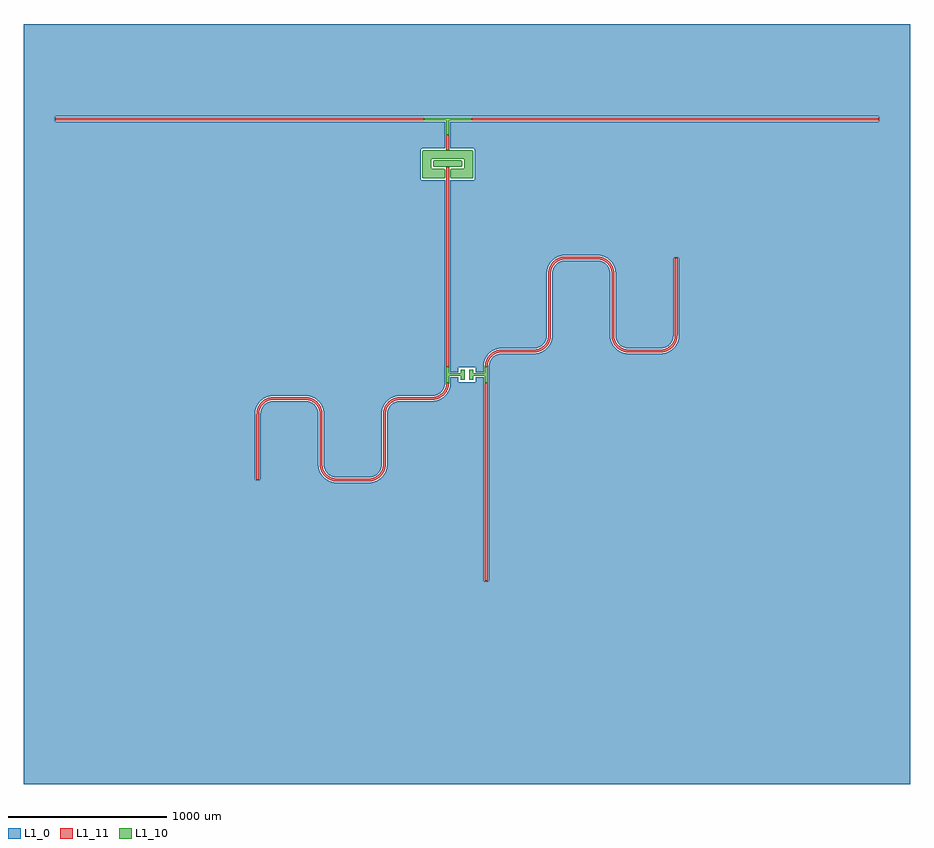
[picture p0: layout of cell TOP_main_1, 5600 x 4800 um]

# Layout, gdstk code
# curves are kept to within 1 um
import gdstk
lib = gdstk.Library(unit=1e-6, precision=1e-09)
def R(c, l, rs):  # rectangles x0, y0, x1, y1
    for r in rs: c.add(gdstk.rectangle(r[:2], r[2:], *l))
def P(c, l, *ps):  # polygons
    for p in ps: c.add(gdstk.Polygon(p, *l))
L1_0 = (1, 0)
L1_10 = (1, 10)
L1_11 = (1, 11)

ground_main_1 = lib.new_cell('ground_main_1')
R(ground_main_1, L1_0, [(-104.5,1414,-52.696,1583), (-941.076,1617,-574.409,2200), (-574.409,1617,-422.5,2200), (-422.5,1617,-52.696,2200), (-52.696,1617,220.5,2200), (220.5,1617,573.319,2200), (573.319,1617,940.651,2200)])
P(ground_main_1, L1_0, [(-941.076,-2600),(-941.076,-243.607),(-945.244,-231.434),(-951.265,-220.062),(-966.272,-202.491),(-976.562,-194.765),(-987.934,-188.744),(-1000.107,-184.576),(-1012.783,-182.364),(-1230.217,-182.364),(-1245.377,-185.256),(-1259.727,-190.937),(-1272.758,-199.207),(-1282.275,-207.867),(-1291.735,-220.062),(-1298.742,-233.814),(-1303.048,-248.635),(-1304.46,-261.424),(-1304.5,-679.862),(-1338.5,-679.862),(-1338.341,-257.929),(-1335.965,-239.882),(-1330.795,-222.429),(-1322.959,-206),(-1312.649,-190.999),(-1295.501,-173.851),(-1275.163,-160.643),(-1249.58,-151.205),(-1225.537,-148.04),(-1008.375,-148.635),(-990.477,-151.953),(-973.319,-158.029),(-957.322,-166.714),(-941.076,-179.463),(-941.076,1583),(-2600,1583),(-2600,1617),(-941.076,1617),(-941.076,2200),(-2800,2200),(-2800,-2600)],
  [(-617.924,-662.822),(-595.161,-658.849),(-574.409,-648.683),(-574.409,1583),(-941.076,1583),(-941.076,-179.463),(-926.654,-195.817),(-915.8,-214.061),(-908.453,-233.977),(-904.858,-254.899),(-903.49,-593.69),(-896.696,-615.776),(-884.009,-635.09),(-866.438,-650.097),(-855.066,-656.118),(-842.893,-660.286),(-822.5,-662.862)],
  [(-574.409,-687.302),(-596.382,-694.327),(-617.463,-696.822),(-834.625,-696.227),(-858.346,-691.185),(-877.85,-682.805),(-895.501,-671.011),(-912.649,-653.863),(-922.959,-638.862),(-929.67,-625.253),(-935.295,-607.942),(-938.142,-589.963),(-938.5,-264),(-941.076,-243.607),(-941.076,-2600),(-574.409,-2600)],
  [(-572.302,-647.202),(-558.991,-635.09),(-549.919,-622.604),(-542.513,-606.202),(-538.864,-588.579),(-538.46,-260.963),(-533.723,-231.054),(-527.2,-214.061),(-518.099,-198.297),(-506.643,-184.151),(-490.683,-170.154),(-475.163,-160.643),(-458.346,-153.677),(-440.646,-149.428),(-422.5,-148),(-422.5,1583),(-574.409,1583),(-574.409,-648.683)],
  [(-422.5,-182),(-435.328,-183.01),(-447.839,-186.013),(-459.727,-190.937),(-472.758,-199.207),(-482.275,-207.867),(-490.321,-217.909),(-496.696,-229.086),(-501.244,-241.123),(-504.5,-264),(-504.5,-580.862),(-505.928,-599.009),(-514.529,-628.044),(-528.471,-651.479),(-549.884,-672.891),(-574.409,-687.302),(-574.409,-2600),(-422.5,-2600)],
  [(-220.5,-148),(-205.135,-146.548),(-190.314,-142.242),(-176.562,-135.235),(-164.367,-125.775),(-154.161,-114.198),(-146.304,-100.914),(-141.076,-86.393),(-138.662,-71.149),(-138.5,1213),(-281.5,1213),(-286.092,1213.913),(-290.776,1217.387),(-293.5,1225),(-293.5,1402),(-290.776,1409.613),(-282.676,1413.942),(-138.5,1414),(-138.5,1583),(-422.5,1583),(-422.5,-148)],
  [(-54.49,31.696),(-52.696,33.49),(-52.696,1213),(-104.5,1213),(-104.5,2),(-54.5,2)],
  [(-52.696,-63.49),(-54.49,-61.696),(-54.5,-32),(-104.5,-32),(-105.928,-84.146),(-110.177,-101.846),(-118.557,-121.35),(-130.351,-139.001),(-145.164,-154.207),(-162.5,-166.459),(-184.654,-176.323),(-199.361,-180.058),(-217.463,-181.96),(-422.5,-182),(-422.5,-2600),(-52.696,-2600)],
  [(52.5,33.5),(54.49,31.696),(54.5,2),(104.5,2),(104.659,42.071),(107.705,63.08),(115.8,85.939),(128.471,106.616),(145.164,124.207),(167.837,139.357),(193.42,148.795),(220.5,152),(220.5,1583),(-52.696,1583),(-52.696,1414),(39.676,1413.942),(47.776,1409.613),(50.5,1402),(50.5,1225),(49.083,1219.343),(45.167,1215.022),(39.676,1213.058),(-52.696,1213),(-52.696,33.49)],
  [(220.5,118),(205.135,116.548),(190.314,112.242),(176.562,105.235),(164.367,95.775),(154.161,84.198),(146.304,70.914),(141.076,56.393),(138.662,41.149),(138.5,-1321),(104.5,-1321),(104.5,-32),(54.5,-32),(54.49,-61.696),(52.89,-63.462),(-52.696,-63.49),(-52.696,-2600),(220.5,-2600)],
  [(425.076,152.04),(437.865,153.452),(452.686,157.758),(464.241,163.419),(474.769,170.818),(484.009,179.772),(491.735,190.062),(497.756,201.434),(501.924,213.607),(504.5,234),(505.492,638.557),(513.33,667.808),(528.471,694.033),(547.499,713.565),(573.319,729.388),(573.319,1583),(220.5,1583),(220.5,152)],
  [(573.319,690.47),(560.725,679.549),(549.919,665.158),(542.513,648.756),(538.864,631.133),(538.46,230.963),(533.723,201.054),(521.406,173.39),(506.643,154.151),(488.203,138.401),(466.891,126.83),(443.639,119.942),(422.5,118),(220.5,118),(220.5,-2600),(573.319,-2600)],
  [(578.929,731.712),(599.361,737.474),(617.463,739.377),(837.641,738.424),(861.222,732.763),(883.11,722.323),(902.349,707.56),(918.099,689.119),(927.2,673.356),(932.823,659.262),(938.341,629.487),(938.5,234),(940.651,215.379),(940.651,1583),(573.319,1583),(573.319,729.388)],
  [(940.651,149.857),(926.654,165.817),(917.143,181.337),(909.277,201.054),(905.135,221.875),(904.46,625.992),(900.487,648.756),(890.321,669.507),(878.633,683.192),(862.004,695.273),(845.377,702.16),(827.649,705.255),(615.351,705.255),(592.723,700.569),(573.319,690.47),(573.319,-2600),(940.651,-2600)],
  [(2800,2200),(940.651,2200),(940.651,1617),(2600,1617),(2600,1583),(940.651,1583),(940.651,215.379),(946.304,199.086),(958.991,179.772),(974.409,166.179),(995.161,156.013),(1017.924,152.04),(1232.777,152.647),(1247.839,156.013),(1264.241,163.419),(1276.728,172.491),(1288.839,185.802),(1295.563,196.773),(1300.487,208.661),(1304.46,231.424),(1304.5,722.416),(1338.5,722.416),(1338.46,230.963),(1336.558,212.861),(1332.823,198.154),(1325.857,181.337),(1318.099,168.297),(1300.119,147.795),(1280.5,133.541),(1255.446,122.777),(1228.571,118.159),(1008.375,118.635),(987.554,122.777),(970.561,129.3),(954.797,138.401),(940.651,149.857),(940.651,-2600),(2800,-2600)])

top_main_1 = lib.new_cell('TOP_main_1')
P(top_main_1, L1_10, [(-129.5,1500),(-129.5,1592),(-271.5,1592),(-271.5,1608),(28.5,1608),(28.5,1592),(-113.5,1592),(-113.5,1500),(-129.5,1500)],
  [(-212.5,1330),(-210.157,1335.657),(-204.5,1338),(-37.716,1337.961),(-32.843,1335.657),(-30.654,1331.561),(-30.539,1304.216),(-32.843,1299.343),(-38.5,1297),(-205.284,1297.039),(-210.157,1299.343),(-212.346,1303.439)],
  [(-146.402,1225.005),(-141.279,1226.948),(-138.567,1232.022),(-138.5,1276.902),(-139.747,1281.276),(-145.912,1284.971),(-216.5,1285),(-220.945,1286.348),(-224.461,1292.216),(-224.5,1342),(-222.157,1347.657),(-217.284,1349.961),(-138.5,1350),(-138.5,1402),(-273.402,1402),(-278.417,1400.301),(-281.5,1393.902),(-281.5,1233.098),(-279.801,1228.083),(-273.402,1225)],
  [(30.598,1225.005),(36.011,1227.211),(38.495,1232.902),(38.5,1393.902),(36.289,1399.511),(30.402,1402),(-138.5,1402),(-138.5,1350),(-25.716,1349.961),(-20.843,1347.657),(-18.654,1343.561),(-18.539,1292.216),(-22.055,1286.348),(-26.5,1285),(-97.088,1284.971),(-103.035,1281.602),(-104.495,1277.098),(-104.5,1233.098),(-102.289,1227.489),(-96.402,1225)],
  [(-113.5,35),(-113.5,-7),(-38.5,-7),(-37.914,16.914),(-14.231,17.046),(-13.954,-46.769),(-37.914,-46.914),(-38.5,-23),(-113.5,-23),(-113.5,-65),(-129.5,-65),(-129.5,35)],
  [(15.304,-47.49),(13.5,-45.5),(14.389,17.163),(37.914,16.914),(38.5,-7),(113.5,-7),(113.5,35),(129.5,35),(129.5,-65),(113.5,-65),(113.5,-23),(38.5,-23),(37.914,-46.914)])
R(top_main_1, L1_11, [(113.5,-1315,129.5,-65), (-129.5,35,-113.5,1185), (-129.5,1185,-113.5,1297.001), (-129.5,1401.999,-113.5,1450), (-129.5,1450,-113.5,1500), (-2600,1592,-271.5,1608), (28.5,1592,2600,1608)])
P(top_main_1, L1_11, [(-1313.5,-264),(-1312.065,-247.903),(-1307.805,-232.314),(-1300.855,-217.724),(-1291.434,-204.593),(-1279.838,-193.336),(-1266.434,-184.308),(-1251.645,-177.793),(-1235.936,-173.997),(-1009.737,-173.639),(-991.355,-177.793),(-976.566,-184.308),(-963.162,-193.336),(-950.228,-206.194),(-950.228,-183.311),(-957.131,-177.783),(-969.574,-169.896),(-985.757,-162.798),(-1002.888,-158.459),(-1017.552,-157.041),(-1237.197,-158.014),(-1257.243,-162.798),(-1276,-171.335),(-1292.772,-183.311),(-1306.938,-198.279),(-1315.165,-210.5),(-1322.707,-226.482),(-1326.91,-240.601),(-1329.338,-258.106),(-1329.5,-679.862),(-1313.5,-679.862)],
  [(-620.5,-671.862),(-835.936,-670.865),(-854.186,-666.167),(-871.078,-657.811),(-885.886,-646.155),(-897.976,-631.699),(-908.707,-610.007),(-913.46,-583.559),(-914.149,-252.229),(-918.379,-232.059),(-926.396,-213.074),(-936.062,-198.279),(-950.228,-183.311),(-950.228,-206.194),(-942.145,-217.724),(-936.171,-229.8),(-931.451,-245.256),(-929.66,-258.609),(-929.135,-589.698),(-926.91,-604.261),(-922.707,-618.38),(-910.43,-641.832),(-897.111,-657.558),(-878.533,-672.018),(-857.243,-682.065),(-834.271,-687.213),(-620.5,-687.862)],
  [(-617.552,-687.822),(-599.987,-685.878),(-585.757,-682.065),(-569.574,-674.966),(-554.779,-665.3),(-541.778,-653.331),(-530.923,-639.386),(-522.512,-623.844),(-516.774,-607.129),(-513.5,-580.862),(-513.34,-258.609),(-511.549,-245.256),(-506.829,-229.8),(-500.855,-217.724),(-491.434,-204.593),(-491.434,-182.177),(-506.938,-198.279),(-517.971,-215.686),(-525.463,-234.885),(-529.135,-255.164),(-529.5,-580.862),(-532.046,-602.237),(-537.222,-617.546),(-545.024,-631.699),(-553.357,-642.286),(-565.281,-653.194),(-576.566,-660.554),(-591.355,-667.069),(-607.064,-670.865),(-620.5,-671.862),(-620.5,-687.862)],
  [(-489.643,-202.577),(-477.719,-191.668),(-464.053,-183.041),(-449.077,-176.968),(-433.263,-173.639),(-217.552,-172.959),(-199.987,-171.015),(-182.982,-166.207),(-167,-158.665),(-154.779,-150.438),(-143.804,-140.611),(-132.57,-126.969),(-125.029,-114.314),(-118.379,-97.941),(-114.514,-80.697),(-113.5,-65),(-129.5,-65),(-130.497,-79.436),(-133.468,-92.577),(-145.024,-116.837),(-153.357,-127.423),(-165.281,-138.332),(-188.814,-151.305),(-201.756,-155.049),(-217.803,-156.96),(-422.5,-157),(-440.112,-158.459),(-454.441,-161.879),(-468.165,-167.234),(-491.434,-182.177),(-491.434,-204.593)],
  [(129.5,36),(133.468,62.577),(145.024,86.837),(153.357,97.423),(165.281,108.332),(188.814,121.305),(201.756,125.049),(217.803,126.96),(422.5,127),(440.112,128.459),(454.441,131.879),(468.165,137.234),(481.023,144.423),(492.772,153.311),(492.772,176.194),(479.838,163.336),(466.434,154.308),(451.645,147.793),(433.263,143.639),(217.552,142.959),(199.987,141.015),(182.982,136.207),(167,128.665),(150.228,116.689),(136.062,101.721),(126.396,86.926),(116.774,62.267),(113.5,35)],
  [(494.969,155.278),(506.938,168.279),(517.971,185.686),(525.463,204.885),(529.135,225.164),(529.54,626.113),(532.718,647.403),(540.808,667.35),(551.566,682.823),(567.449,697.353),(583.816,706.695),(601.756,712.465),(620.5,714.416),(822.5,714.416),(822.5,730.416),(620.5,730.416),(599.987,728.432),(580.235,722.551),(559.531,711.347),(541.778,695.885),(527.835,676.916),(517.537,652.531),(513.541,626.365),(513.34,228.609),(511.549,215.256),(506.829,199.8),(500.855,187.724),(492.772,176.194),(492.772,153.311)],
  [(951.566,174.593),(942.145,187.724),(936.171,199.8),(931.451,215.256),(929.66,228.609),(929.5,623.416),(926.91,646.815),(920.488,666.398),(912.077,681.94),(901.222,695.885),(888.221,707.854),(873.426,717.52),(857.243,724.619),(840.112,728.957),(822.5,730.416),(822.5,714.416),(841.244,712.465),(856.7,707.745),(871.078,700.366),(885.886,688.71),(900.855,669.693),(910.954,644.791),(913.5,623.416),(913.865,225.164),(916.09,210.601),(920.293,196.482),(926.396,183.074),(934.283,170.631),(951.566,152.177)],
  [(1225.448,127.041),(1243.013,128.985),(1260.018,133.793),(1276,141.335),(1292.772,153.311),(1305.095,165.978),(1315.165,180.5),(1322.707,196.482),(1328.041,216.388),(1329.5,234),(1329.5,722.416),(1313.5,722.416),(1313.46,231.303),(1308.707,204.855),(1297.976,183.163),(1283.923,166.857),(1266.434,154.308),(1246.486,146.218),(1225.197,143.04),(1009.737,143.639),(993.923,146.968),(978.947,153.041),(965.281,161.668),(951.566,174.593),(951.566,152.177),(974.835,137.234),(988.559,131.879),(1002.888,128.459),(1020.5,127)])
top_main_1.add(gdstk.Reference(ground_main_1, (0,0)))

lib.write_gds('TOP_main_1.gds')
